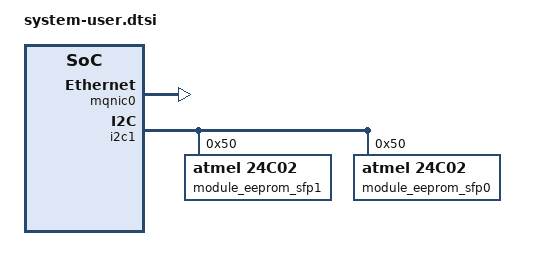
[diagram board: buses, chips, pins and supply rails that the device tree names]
/include/ "system-conf.dtsi"

/ {
	/delete-node/ m_axil_ctrl@a0000000;
	/delete-node/ m_axil_app_ctrl@a8000000;

	mqnic0: ethernet@a0000000 {
		compatible = "corundum,mqnic";
		reg = <0x0 0xa0000000 0x0 0x1000000>,
		      <0x0 0xa8000000 0x0 0x1000000>;
		reg-names = "csr", "app";
		interrupt-parent = <&gic>;
		interrupts = <0x0 0x59 0x1>, <0x0 0x5a 0x1>, <0x0 0x5b 0x1>,
			     <0x0 0x5c 0x1>;

		nvmem-cells = <&macaddress>;
		nvmem-cell-names = "mac-address";

		/* NOTE: The nvmem-cells property provides us with a base MAC
		 * address. We increment its last byte (default) by 0x1. And we
		 * mark the derived address as "locally administrated". The
		 * result is used to derive MAC addresses for mqnic interfaces.
		 */
		mac-address-increment = <0x1>;
		mac-address-local;

		module-eeproms = <&module_eeprom_sfp0>, <&module_eeprom_sfp1>;
	};
};

&eeprom {
		#address-cells = <1>;
		#size-cells = <1>;

		macaddress: macaddress@20 {
			/* NOTE: On Xilinx Zynq boards there usually is an
			 * EEPROM with a MAC address for one of the PS GEMs at
			 * offset 0x20. So we take that address as our base
			 * address.
			 */
			reg = <0x20 0x06>;
		};
};

&i2c1 {
	i2c-mux@75 {
		i2c@6 {
			module_eeprom_sfp1: eeprom@50 {
				compatible = "atmel,24c02";
				reg = <0x50>;
			};
		};
		i2c@7 {
			module_eeprom_sfp0: eeprom@50 {
				compatible = "atmel,24c02";
				reg = <0x50>;
			};
		};
	};
};

/* WORKAROUND:
 * Letting the Linux driver for USER MGT SI570 (U56) chip program the output
 * frequency causes the peer of mqnic's PHY to loose its link.
 * Reason: The USER MGT SI570 (U56) chip is used as the source for the 156.25 MHz
 * MGT ref clock. And the factory default is 156.25 HHz. However the frequency
 * hard-coded into the PetaLinux device tree snippet for the ZCU106 board
 * (file: zcu106-reva.dtsi) is 148.5 MHz.
 *
 * However even when overwriting the "clock-frequency" property to 156.25 MHz and
 * letting the Linux driver reprogram/reconfigure the USER MGT SI570 (U56) chip
 * with this desired frequency the mqnic's PHY RX direction still breaks (block
 * lock lost); the peer however still keeps saying "link up".
 *
 * Thus, for now, we make Linux NOT load the driver for the USER MGT SI570 (U56)
 * chip.
 * In the future the mqnic PHY may get a control interface, in order for the
 * software to reprogram the USER MGT SI570 (U56) chip and then be able to
 * trigger a PHY reset.
 */

/* USER MGT SI570 (U56) */
&si570_2 {
	status = "disabled";
	/* clock-frequency = <156250000>; */
};
